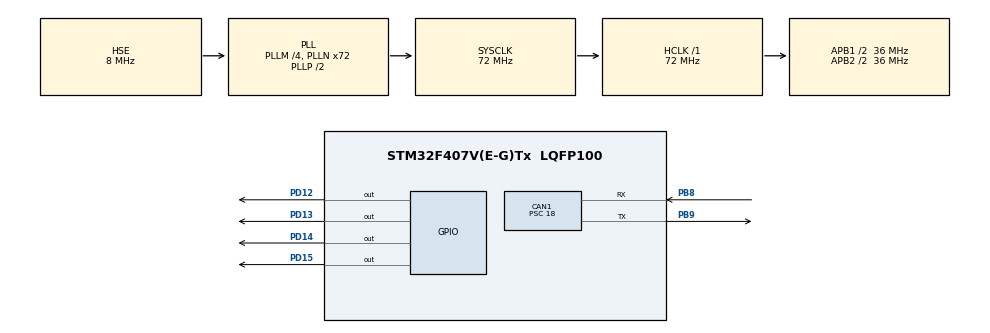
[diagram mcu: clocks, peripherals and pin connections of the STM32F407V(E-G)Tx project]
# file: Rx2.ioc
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CAN1.BS1=CAN_BS1_2TQ
CAN1.CalculateBaudRate=500000
CAN1.CalculateTimeBit=2000
CAN1.CalculateTimeQuantum=500.0
CAN1.Prescaler=18
Mcu.Family=STM32F4
Mcu.Name=STM32F407V(E-G)Tx
Mcu.Package=LQFP100
NVIC.CAN1_RX0_IRQn=true\:0\:0\:false\:false\:true\:true\:true\:true
NVIC.PriorityGroup=NVIC_PRIORITYGROUP_0
PB8.Mode=CAN_Activate
PB8.Signal=CAN1_RX
PB9.Mode=CAN_Activate
PB9.Signal=CAN1_TX
PD12.Signal=GPIO_Output
PD13.Signal=GPIO_Output
PD14.Signal=GPIO_Output
PD15.Signal=GPIO_Output
PH0-OSC_IN.Mode=HSE-External-Oscillator
PH0-OSC_IN.Signal=RCC_OSC_IN
PH1-OSC_OUT.Mode=HSE-External-Oscillator
PH1-OSC_OUT.Signal=RCC_OSC_OUT
ProjectManager.HeapSize=0x200
ProjectManager.StackSize=0x400
ProjectManager.TargetToolchain=STM32CubeIDE
RCC.48MHZClocksFreq_Value=20571428.57142857
RCC.AHBFreq_Value=72000000
RCC.APB1CLKDivider=RCC_HCLK_DIV2
RCC.APB1Freq_Value=36000000
RCC.APB1TimFreq_Value=72000000
RCC.APB2CLKDivider=RCC_HCLK_DIV2
RCC.APB2Freq_Value=36000000
RCC.APB2TimFreq_Value=72000000
RCC.CortexFreq_Value=72000000
RCC.HCLKFreq_Value=72000000
RCC.HSE_VALUE=8000000
RCC.HSI_VALUE=16000000
RCC.PLLM=4
RCC.PLLN=72
RCC.PLLQ=7
RCC.PLLSourceVirtual=RCC_PLLSOURCE_HSE
RCC.SYSCLKFreq_VALUE=72000000
RCC.SYSCLKSource=RCC_SYSCLKSOURCE_PLLCLK
RCC.VCOOutputFreq_Value=144000000
board=STM32F407G-DISC1

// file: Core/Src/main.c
/* USER CODE BEGIN Header */
/**
  ******************************************************************************
  * @file           : main.c
  * @brief          : Main program body
  ******************************************************************************
  * @attention
  *
  * Copyright (c) 2023 STMicroelectronics.
  * All rights reserved.
  *
  * This software is licensed under terms that can be found in the LICENSE file
  * in the root directory of this software component.
  * If no LICENSE file comes with this software, it is provided AS-IS.
  *
  ******************************************************************************
  */
/* USER CODE END Header */
#include "main.h"

/* USER CODE BEGIN Includes */
#include<stdio.h>
/* USER CODE END Includes */

CAN_HandleTypeDef hcan1;

void SystemClock_Config(void);
static void MX_GPIO_Init(void);
static void MX_CAN1_Init(void);

/* USER CODE BEGIN 0 */
CAN_RxHeaderTypeDef RxHeader;
uint8_t RxData[5];

void HAL_CAN_RxFifo0MsgPendingCallback(CAN_HandleTypeDef *hcan){

	HAL_GPIO_WritePin(GPIOD, GPIO_PIN_15, GPIO_PIN_SET); // blue
	HAL_CAN_GetRxMessage(&hcan1, CAN_RX_FIFO0, &RxHeader, RxData);
}
/* USER CODE END 0 */

int main(void)
{

  /* MCU Configuration--------------------------------------------------------*/

  /* Reset of all peripherals, Initializes the Flash interface and the Systick. */
  HAL_Init();

  /* Configure the system clock */
  SystemClock_Config();

  /* Initialize all configured peripherals */
  MX_GPIO_Init();
  MX_CAN1_Init();
  /* USER CODE BEGIN 2 */
  HAL_CAN_Start(&hcan1);
  HAL_CAN_ActivateNotification(&hcan1, CAN_IT_RX_FIFO0_MSG_PENDING);
  HAL_Delay(100);
  HAL_Delay(100);
  /* USER CODE END 2 */

  /* Infinite loop */
  /* USER CODE BEGIN WHILE */
  while (1)
  {
	  		if(RxData[0] == 'S'){
	  			HAL_GPIO_WritePin(GPIOD, GPIO_PIN_14, GPIO_PIN_SET); //
	  		}
	  		else if (RxData[1] == 'T')
	  		{
	  			HAL_GPIO_WritePin(GPIOD, GPIO_PIN_12, GPIO_PIN_SET);
	  		}

    /* USER CODE END WHILE */

  }
}

void SystemClock_Config(void)
{
  RCC_OscInitTypeDef RCC_OscInitStruct = {0};
  RCC_ClkInitTypeDef RCC_ClkInitStruct = {0};

  /** Configure the main internal regulator output voltage
  */
  __HAL_RCC_PWR_CLK_ENABLE();
  __HAL_PWR_VOLTAGESCALING_CONFIG(PWR_REGULATOR_VOLTAGE_SCALE1);

  /** Initializes the RCC Oscillators according to the specified parameters
  * in the RCC_OscInitTypeDef structure.
  */
  RCC_OscInitStruct.OscillatorType = RCC_OSCILLATORTYPE_HSE;
  RCC_OscInitStruct.HSEState = RCC_HSE_ON;
  RCC_OscInitStruct.PLL.PLLState = RCC_PLL_ON;
  RCC_OscInitStruct.PLL.PLLSource = RCC_PLLSOURCE_HSE;
  RCC_OscInitStruct.PLL.PLLM = 4;
  RCC_OscInitStruct.PLL.PLLN = 72;
  RCC_OscInitStruct.PLL.PLLP = RCC_PLLP_DIV2;
  RCC_OscInitStruct.PLL.PLLQ = 7;
  if (HAL_RCC_OscConfig(&RCC_OscInitStruct) != HAL_OK)
  {
    Error_Handler();
  }

  /** Initializes the CPU, AHB and APB buses clocks
  */
  RCC_ClkInitStruct.ClockType = RCC_CLOCKTYPE_HCLK|RCC_CLOCKTYPE_SYSCLK
                              |RCC_CLOCKTYPE_PCLK1|RCC_CLOCKTYPE_PCLK2;
  RCC_ClkInitStruct.SYSCLKSource = RCC_SYSCLKSOURCE_PLLCLK;
  RCC_ClkInitStruct.AHBCLKDivider = RCC_SYSCLK_DIV1;
  RCC_ClkInitStruct.APB1CLKDivider = RCC_HCLK_DIV2;
  RCC_ClkInitStruct.APB2CLKDivider = RCC_HCLK_DIV2;

  if (HAL_RCC_ClockConfig(&RCC_ClkInitStruct, FLASH_LATENCY_2) != HAL_OK)
  {
    Error_Handler();
  }
}

static void MX_CAN1_Init(void)
{

  hcan1.Instance = CAN1;
  hcan1.Init.Prescaler = 18;
  hcan1.Init.Mode = CAN_MODE_NORMAL;
  hcan1.Init.SyncJumpWidth = CAN_SJW_1TQ;
  hcan1.Init.TimeSeg1 = CAN_BS1_2TQ;
  hcan1.Init.TimeSeg2 = CAN_BS2_1TQ;
  hcan1.Init.TimeTriggeredMode = DISABLE;
  hcan1.Init.AutoBusOff = DISABLE;
  hcan1.Init.AutoWakeUp = DISABLE;
  hcan1.Init.AutoRetransmission = DISABLE;
  hcan1.Init.ReceiveFifoLocked = DISABLE;
  hcan1.Init.TransmitFifoPriority = DISABLE;
  if (HAL_CAN_Init(&hcan1) != HAL_OK)
  {
    Error_Handler();
  }
  /* USER CODE BEGIN CAN1_Init 2 */
  CAN_FilterTypeDef canFilterConfig;
  canFilterConfig.FilterActivation=CAN_FILTER_ENABLE;
  canFilterConfig.SlaveStartFilterBank=14;
  canFilterConfig.FilterBank=2;
  canFilterConfig.FilterFIFOAssignment=CAN_RX_FIFO0;
  canFilterConfig.FilterScale=CAN_FILTERSCALE_32BIT;
  canFilterConfig.FilterMode=CAN_FILTERMODE_IDMASK;
  canFilterConfig.FilterMaskIdLow=0x0000;
  canFilterConfig.FilterMaskIdHigh=0xFF00;
  canFilterConfig.FilterIdLow=0x0000;
  canFilterConfig.FilterIdHigh=0x1500;
  HAL_CAN_ConfigFilter(&hcan1, &canFilterConfig);
  /* USER CODE END CAN1_Init 2 */

}

static void MX_GPIO_Init(void)
{
  GPIO_InitTypeDef GPIO_InitStruct = {0};

  /* GPIO Ports Clock Enable */
  __HAL_RCC_GPIOH_CLK_ENABLE();
  __HAL_RCC_GPIOD_CLK_ENABLE();
  __HAL_RCC_GPIOB_CLK_ENABLE();

  /*Configure GPIO pin Output Level */
  HAL_GPIO_WritePin(GPIOD, GPIO_PIN_12|GPIO_PIN_13|GPIO_PIN_14|GPIO_PIN_15, GPIO_PIN_RESET);

  /*Configure GPIO pins : PD12 PD13 PD14 PD15 */
  GPIO_InitStruct.Pin = GPIO_PIN_12|GPIO_PIN_13|GPIO_PIN_14|GPIO_PIN_15;
  GPIO_InitStruct.Mode = GPIO_MODE_OUTPUT_PP;
  GPIO_InitStruct.Pull = GPIO_NOPULL;
  GPIO_InitStruct.Speed = GPIO_SPEED_FREQ_LOW;
  HAL_GPIO_Init(GPIOD, &GPIO_InitStruct);

}

void Error_Handler(void)
{
  __disable_irq();
  while (1)
  {
  }
}
